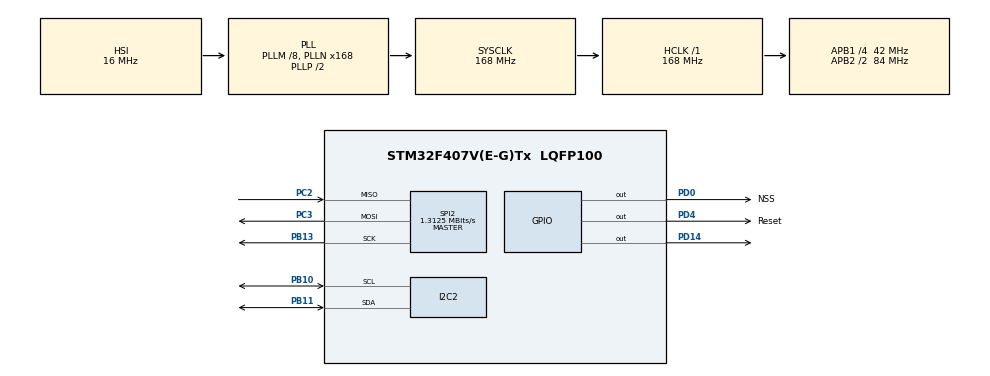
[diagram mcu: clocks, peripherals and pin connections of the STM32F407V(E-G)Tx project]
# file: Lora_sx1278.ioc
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Mcu.Family=STM32F4
Mcu.Name=STM32F407V(E-G)Tx
Mcu.Package=LQFP100
NVIC.PriorityGroup=NVIC_PRIORITYGROUP_4
PA13.Mode=Serial_Wire
PA13.Signal=SYS_JTMS-SWDIO
PA14.Mode=Serial_Wire
PA14.Signal=SYS_JTCK-SWCLK
PB10.Mode=I2C
PB10.Signal=I2C2_SCL
PB11.Mode=I2C
PB11.Signal=I2C2_SDA
PB13.Mode=Full_Duplex_Master
PB13.Signal=SPI2_SCK
PC2.Mode=Full_Duplex_Master
PC2.Signal=SPI2_MISO
PC3.Mode=Full_Duplex_Master
PC3.Signal=SPI2_MOSI
PD0.GPIO_Label=NSS
PD0.GPIO_Speed=GPIO_SPEED_FREQ_HIGH
PD0.PinState=GPIO_PIN_SET
PD0.Signal=GPIO_Output
PD14.Signal=GPIO_Output
PD4.GPIO_Label=Reset
PD4.GPIO_Speed=GPIO_SPEED_FREQ_HIGH
PD4.PinState=GPIO_PIN_SET
PD4.Signal=GPIO_Output
PH0-OSC_IN.Mode=HSE-External-Oscillator
PH0-OSC_IN.Signal=RCC_OSC_IN
PH1-OSC_OUT.Mode=HSE-External-Oscillator
PH1-OSC_OUT.Signal=RCC_OSC_OUT
ProjectManager.HeapSize=0x200
ProjectManager.StackSize=0x400
ProjectManager.TargetToolchain=STM32CubeIDE
RCC.48MHZClocksFreq_Value=84000000
RCC.AHBFreq_Value=168000000
RCC.APB1CLKDivider=RCC_HCLK_DIV4
RCC.APB1Freq_Value=42000000
RCC.APB1TimFreq_Value=84000000
RCC.APB2CLKDivider=RCC_HCLK_DIV2
RCC.APB2Freq_Value=84000000
RCC.APB2TimFreq_Value=168000000
RCC.CortexFreq_Value=168000000
RCC.HCLKFreq_Value=168000000
RCC.HSE_VALUE=8000000
RCC.HSI_VALUE=16000000
RCC.LSE_VALUE=32768
RCC.PLLM=8
RCC.PLLN=168
RCC.SYSCLKFreq_VALUE=168000000
RCC.SYSCLKSource=RCC_SYSCLKSOURCE_PLLCLK
RCC.VCOOutputFreq_Value=336000000
SPI2.BaudRatePrescaler=SPI_BAUDRATEPRESCALER_32
SPI2.CalculateBaudRate=1.3125 MBits/s
SPI2.Direction=SPI_DIRECTION_2LINES
SPI2.Mode=SPI_MODE_MASTER
SPI2.VirtualType=VM_MASTER
board=custom

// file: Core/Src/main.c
/* USER CODE BEGIN Header */
/**
  ******************************************************************************
  * @file           : main.c
  * @brief          : Main program body
  ******************************************************************************
  * @attention
  *
  * Copyright (c) 2025 STMicroelectronics.
  * All rights reserved.
  *
  * This software is licensed under terms that can be found in the LICENSE file
  * in the root directory of this software component.
  * If no LICENSE file comes with this software, it is provided AS-IS.
  *
  ******************************************************************************
  */
/* USER CODE END Header */
#include "main.h"

/* USER CODE BEGIN Includes */
#include "SX1278.h"
#include <stdbool.h>
/* USER CODE END Includes */

/* USER CODE BEGIN PD */
#define TEMP_STAND  32.0f  // Nhiệt độ bật tưới (ví dụ 32 độ)
#define HUMI_STAND 30.0f  // Nhiệt độ tắt tưới (tưới đến khi mát thì thôi)
/* USER CODE END PD */

I2C_HandleTypeDef hi2c2;

SPI_HandleTypeDef hspi2;

/* USER CODE BEGIN PV */
SX1278_t sx1278;
uint8_t rx_data[64];
bool is_fan_on = false;
bool is_pump_on = false;
uint32_t fan_start_time = 0;
uint32_t pump_start_time = 0;
typedef struct __attribute__((packed))
{
		uint8_t node_id;
	  uint16_t TempleScale;
	  uint16_t HumiScale;
	  uint8_t CheckSum;

} LoraPacket;
LoraPacket RxPacket;
float temp = 0;
float humi = 0;
//uint8_t tx_data[] = {0x01,0x02,0x03};
/* USER CODE END PV */

void SystemClock_Config(void);
static void MX_GPIO_Init(void);
static void MX_I2C2_Init(void);
static void MX_SPI2_Init(void);

int main(void)
{

  /* MCU Configuration--------------------------------------------------------*/

  /* Reset of all peripherals, Initializes the Flash interface and the Systick. */
  HAL_Init();

  /* Configure the system clock */
  SystemClock_Config();

  /* Initialize all configured peripherals */
  MX_GPIO_Init();
  MX_I2C2_Init();
  MX_SPI2_Init();
  /* USER CODE BEGIN 2 */
  sx1278.hspi = &hspi2;
  sx1278.Nss_Port = NSS_GPIO_Port;
  sx1278.Nss_Pin  = NSS_Pin;
  sx1278.RESET_Port = Reset_GPIO_Port;
  sx1278.RESET_Pin = Reset_Pin;

  SX1278_InitRx(&sx1278);
  /* USER CODE END 2 */

  /* Infinite loop */
  while (1)
  {

    /* USER CODE BEGIN 3 */

  uint8_t irq = SX1278_ReadRegister(&sx1278, REG_IRQ_FLAGS);

  if (irq & IRQ_RX_DONE) {
      // Nhan goi tin
      uint8_t len = SX1278_Receive(&sx1278, (uint8_t*)&RxPacket);

      //Xoa co ngat
      SX1278_WriteRegister(&sx1278, REG_IRQ_FLAGS, IRQ_ALL);
      // KIỂM TRA SIZE: Chỉ xử lý nếu khớp hoàn toàn với Struct
      if (len == sizeof(LoraPacket))
      {

       // 3. KIỂM TRA CHECKSUM
          uint8_t calculated_sum = 0;
          uint8_t *ptr = (uint8_t*)&RxPacket;
          for (int i = 0; i < 5; i++)
          {
        	  calculated_sum += ptr[i];
          }

          if (calculated_sum == RxPacket.CheckSum)
          {
              // DỮ LIỆU CHUẨN - XỬ LÝ Ở ĐÂY
              humi = (float)(RxPacket.HumiScale) / 100.0f;
        	  temp = (float)(RxPacket.TempleScale) / 100.0f;
              // Xu ly du lieu do am va nhiet do
        	  //Nhiet do cao se bat quat
        	  if (temp >= TEMP_STAND && !is_fan_on) {
        	      HAL_GPIO_WritePin(GPIOD, GPIO_PIN_15, GPIO_PIN_SET);
        	      fan_start_time = HAL_GetTick(); // Ghi lại lúc bật
        	      is_fan_on = true;
        	  }
        	  //Do am thap ->Bat may bom
        	  if (humi <= HUMI_STAND && !is_pump_on) {
        	      HAL_GPIO_WritePin(GPIOD, GPIO_PIN_14, GPIO_PIN_SET);
        	      pump_start_time = HAL_GetTick(); // Ghi lại lúc bật
        	      is_pump_on = true;
        	  }
        	  if (is_pump_on && (HAL_GetTick() - pump_start_time >= 5000)) {
        	      HAL_GPIO_WritePin(GPIOD, GPIO_PIN_14, GPIO_PIN_RESET);
        	      is_pump_on = false;
        	  }
            }
      	}

  	  }
  HAL_Delay(100);
/*
      SX1278_Transmit(&sx1278, tx_data, 3);
      HAL_GPIO_TogglePin(GPIOD, GPIO_PIN_14);
      HAL_Delay(1000); // Gửi mỗi 1 giây
*/
  }
  /* USER CODE END 3 */
}

void SystemClock_Config(void)
{
  RCC_OscInitTypeDef RCC_OscInitStruct = {0};
  RCC_ClkInitTypeDef RCC_ClkInitStruct = {0};

  /** Configure the main internal regulator output voltage
  */
  __HAL_RCC_PWR_CLK_ENABLE();
  __HAL_PWR_VOLTAGESCALING_CONFIG(PWR_REGULATOR_VOLTAGE_SCALE1);

  /** Initializes the RCC Oscillators according to the specified parameters
  * in the RCC_OscInitTypeDef structure.
  */
  RCC_OscInitStruct.OscillatorType = RCC_OSCILLATORTYPE_HSI;
  RCC_OscInitStruct.HSIState = RCC_HSI_ON;
  RCC_OscInitStruct.HSICalibrationValue = RCC_HSICALIBRATION_DEFAULT;
  RCC_OscInitStruct.PLL.PLLState = RCC_PLL_ON;
  RCC_OscInitStruct.PLL.PLLSource = RCC_PLLSOURCE_HSI;
  RCC_OscInitStruct.PLL.PLLM = 8;
  RCC_OscInitStruct.PLL.PLLN = 168;
  RCC_OscInitStruct.PLL.PLLP = RCC_PLLP_DIV2;
  RCC_OscInitStruct.PLL.PLLQ = 4;
  if (HAL_RCC_OscConfig(&RCC_OscInitStruct) != HAL_OK)
  {
    Error_Handler();
  }

  /** Initializes the CPU, AHB and APB buses clocks
  */
  RCC_ClkInitStruct.ClockType = RCC_CLOCKTYPE_HCLK|RCC_CLOCKTYPE_SYSCLK
                              |RCC_CLOCKTYPE_PCLK1|RCC_CLOCKTYPE_PCLK2;
  RCC_ClkInitStruct.SYSCLKSource = RCC_SYSCLKSOURCE_PLLCLK;
  RCC_ClkInitStruct.AHBCLKDivider = RCC_SYSCLK_DIV1;
  RCC_ClkInitStruct.APB1CLKDivider = RCC_HCLK_DIV4;
  RCC_ClkInitStruct.APB2CLKDivider = RCC_HCLK_DIV2;

  if (HAL_RCC_ClockConfig(&RCC_ClkInitStruct, FLASH_LATENCY_5) != HAL_OK)
  {
    Error_Handler();
  }
}

static void MX_I2C2_Init(void)
{

  hi2c2.Instance = I2C2;
  hi2c2.Init.ClockSpeed = 100000;
  hi2c2.Init.DutyCycle = I2C_DUTYCYCLE_2;
  hi2c2.Init.OwnAddress1 = 0;
  hi2c2.Init.AddressingMode = I2C_ADDRESSINGMODE_7BIT;
  hi2c2.Init.DualAddressMode = I2C_DUALADDRESS_DISABLE;
  hi2c2.Init.OwnAddress2 = 0;
  hi2c2.Init.GeneralCallMode = I2C_GENERALCALL_DISABLE;
  hi2c2.Init.NoStretchMode = I2C_NOSTRETCH_DISABLE;
  if (HAL_I2C_Init(&hi2c2) != HAL_OK)
  {
    Error_Handler();
  }

}

static void MX_SPI2_Init(void)
{

  /* SPI2 parameter configuration*/
  hspi2.Instance = SPI2;
  hspi2.Init.Mode = SPI_MODE_MASTER;
  hspi2.Init.Direction = SPI_DIRECTION_2LINES;
  hspi2.Init.DataSize = SPI_DATASIZE_8BIT;
  hspi2.Init.CLKPolarity = SPI_POLARITY_LOW;
  hspi2.Init.CLKPhase = SPI_PHASE_1EDGE;
  hspi2.Init.NSS = SPI_NSS_SOFT;
  hspi2.Init.BaudRatePrescaler = SPI_BAUDRATEPRESCALER_32;
  hspi2.Init.FirstBit = SPI_FIRSTBIT_MSB;
  hspi2.Init.TIMode = SPI_TIMODE_DISABLE;
  hspi2.Init.CRCCalculation = SPI_CRCCALCULATION_DISABLE;
  hspi2.Init.CRCPolynomial = 10;
  if (HAL_SPI_Init(&hspi2) != HAL_OK)
  {
    Error_Handler();
  }

}

static void MX_GPIO_Init(void)
{
  GPIO_InitTypeDef GPIO_InitStruct = {0};

  /* GPIO Ports Clock Enable */
  __HAL_RCC_GPIOH_CLK_ENABLE();
  __HAL_RCC_GPIOC_CLK_ENABLE();
  __HAL_RCC_GPIOB_CLK_ENABLE();
  __HAL_RCC_GPIOD_CLK_ENABLE();
  __HAL_RCC_GPIOA_CLK_ENABLE();

  /*Configure GPIO pin Output Level */
  HAL_GPIO_WritePin(GPIOD, GPIO_PIN_14, GPIO_PIN_RESET);

  /*Configure GPIO pin Output Level */
  HAL_GPIO_WritePin(GPIOD, NSS_Pin|Reset_Pin, GPIO_PIN_SET);

  /*Configure GPIO pin : PD14 */
  GPIO_InitStruct.Pin = GPIO_PIN_14;
  GPIO_InitStruct.Mode = GPIO_MODE_OUTPUT_PP;
  GPIO_InitStruct.Pull = GPIO_NOPULL;
  GPIO_InitStruct.Speed = GPIO_SPEED_FREQ_LOW;
  HAL_GPIO_Init(GPIOD, &GPIO_InitStruct);

  /*Configure GPIO pins : NSS_Pin Reset_Pin */
  GPIO_InitStruct.Pin = NSS_Pin|Reset_Pin;
  GPIO_InitStruct.Mode = GPIO_MODE_OUTPUT_PP;
  GPIO_InitStruct.Pull = GPIO_NOPULL;
  GPIO_InitStruct.Speed = GPIO_SPEED_FREQ_HIGH;
  HAL_GPIO_Init(GPIOD, &GPIO_InitStruct);

}

void Error_Handler(void)
{
  __disable_irq();
  while (1)
  {
  }
}
